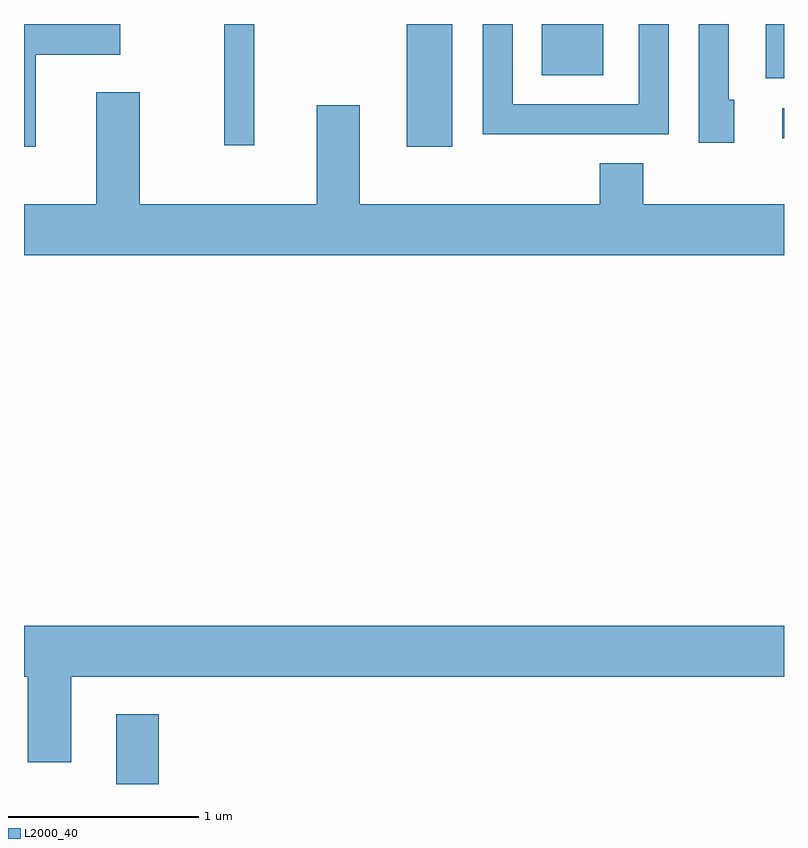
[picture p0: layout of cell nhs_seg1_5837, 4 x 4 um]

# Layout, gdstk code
import gdstk
lib = gdstk.Library(unit=1e-6, precision=1e-09)
def R(c, l, rs):  # rectangles x0, y0, x1, y1
    for r in rs: c.add(gdstk.rectangle(r[:2], r[2:], *l))
def P(c, l, *ps):  # polygons
    for p in ps: c.add(gdstk.Polygon(p, *l))
L2000_40 = (2000, 40)

nhs_seg1_5837 = lib.new_cell('nhs_seg1_5837')
R(nhs_seg1_5837, L2000_40, [(362.096,865.712,362.319,866.079), (363.626,869.066,363.864,869.712), (362.666,869.073,362.824,869.712), (365.603,869.111,365.611,869.269), (365.516,869.426,365.611,869.712), (364.336,869.441,364.659,869.712)])
P(nhs_seg1_5837, L2000_40, [(365.004,869.712),(364.846,869.712),(364.846,869.289),(364.184,869.289),(364.184,869.712),(364.026,869.712),(364.026,869.131),(365.004,869.131)],
  [(365.349,869.314),(365.319,869.314),(365.319,869.712),(365.161,869.712),(365.161,869.086),(365.349,869.086)],
  [(361.674,869.551),(362.118,869.551),(362.118,869.712),(361.611,869.712),(361.611,869.066),(361.674,869.066)],
  [(361.991,869.354),(361.991,868.764),(361.611,868.764),(361.611,868.496),(365.611,868.496),(365.611,868.764),(364.869,868.764),(364.869,868.979),(364.641,868.979),(364.641,868.764),(363.379,868.764),(363.379,869.284),(363.151,869.284),(363.151,868.764),(362.219,868.764),(362.219,869.354)],
  [(361.859,866.276),(365.611,866.276),(365.611,866.544),(361.611,866.544),(361.611,866.276),(361.631,866.276),(361.631,865.826),(361.859,865.826)])

lib.write_gds('nhs_seg1_5837.gds')
